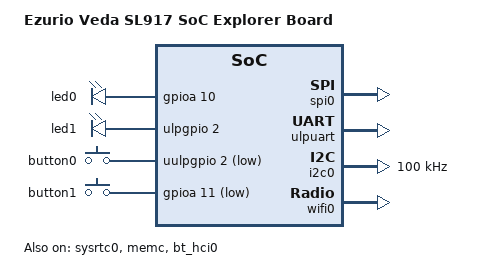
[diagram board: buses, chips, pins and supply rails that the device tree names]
/*
 * Copyright (c) 2023 Antmicro
 * Copyright (c) 2024 Silicon Laboratories Inc.
 * Copyright (c) 2026 Ezurio
 * SPDX-License-Identifier: Apache-2.0
 */

/dts-v1/;
#include <silabs/siwg917m111mgtba.dtsi>
#include <zephyr/dt-bindings/gpio/gpio.h>
#include <zephyr/dt-bindings/input/input-event-codes.h>
#include <zephyr/dt-bindings/pinctrl/silabs/siwx91x-pinctrl.h>
#include <freq.h>

/ {
	model = "Ezurio Veda SL917 SoC Explorer Board";
	compatible = "silabs,siwg917";

	chosen {
		zephyr,bt-hci = &bt_hci0;
		zephyr,code-partition = &code_partition;
		zephyr,console = &ulpuart;
		zephyr,shell-uart = &ulpuart;
		zephyr,sram = &sram0;
		zephyr,uart-pipe = &ulpuart;
	};

	aliases {
		led0 = &led0;
		led1 = &led1;
		sw0 = &button0;
		sw1 = &button1;
	};

	leds {
		compatible = "gpio-leds";

		led0: led_0 {
			gpios = <&gpioa 10 GPIO_ACTIVE_HIGH>;
		};

		led1: led_1 {
			gpios = <&ulpgpio 2 GPIO_ACTIVE_HIGH>;
		};
	};

	buttons {
		compatible = "gpio-keys";

		button0: button_0 {
			gpios = <&uulpgpio 2 GPIO_ACTIVE_LOW>;
			zephyr,code = <INPUT_KEY_0>;
		};

		button1: button_1 {
			gpios = <&gpioa 11 GPIO_ACTIVE_LOW>;
			zephyr,code = <INPUT_KEY_1>;
		};
	};
};

&pinctrl0 {
	psram_default: psram_default {
		group {
			pinmux = <PSRAM_CLK_HP52>,
				 <PSRAM_D0_HP53>,
				 <PSRAM_D1_HP54>,
				 <PSRAM_D2_HP56>,
				 <PSRAM_D3_HP57>,
				 <PSRAM_CSN0_HP55>;
		};
	};

	i2c0_default: i2c0_default {
		group {
			pinmux = <I2C0_SDA_HP6>, <I2C0_SCL_HP7>;
		};
	};

	ulpuart_default: ulpuart_default {
		out {
			pinmux = <ULPUART_TX_ULP11>;
		};

		in {
			pinmux = <ULPUART_RX_ULP9>;
		};
	};

	spi0_default: spi0_default {
		out {
			pinmux = <GSPI_CLK_HP25>, <GSPI_MOSI_HP27>;
		};

		in {
			pinmux = <GSPI_MISO_HP26>;
		};
	};
};

&spi0 {
	status = "okay";
	cs-gpios = <&gpiob 12 GPIO_ACTIVE_LOW>;
	pinctrl-0 = <&spi0_default>;
	pinctrl-names = "default";

	dmas = <&gpdma 0 11>, <&gpdma 1 10>;
	dma-names = "tx", "rx";
};

&gpdma {
	status = "okay";
};

&cpu0 {
	clock-frequency = <180000000>;
};

&ulpuart {
	pinctrl-0 = <&ulpuart_default>;
	pinctrl-names = "default";
	status = "okay";
};

&i2c0 {
	clock-frequency = <DT_FREQ_K(100)>;
	pinctrl-0 = <&i2c0_default>;
	pinctrl-names = "default";
	status = "okay";
};

&flash0 {
	partitions {
		compatible = "fixed-partitions";
		#address-cells = <1>;
		#size-cells = <1>;

		code_partition: partition@202000 {
			reg = <0x00202000 DT_SIZE_K(2008)>;
			label = "code_partition";
		};

		storage_partition: partition@3f8000 {
			reg = <0x003f8000 DT_SIZE_K(32)>;
			label = "storage";
		};
	};
};

&sysrtc0 {
	status = "okay";
};

&memc {
	status = "okay";
	clocks = <&clock0 SIWX91X_CLK_QSPI>;
	pinctrl-0 = <&psram_default>;
	pinctrl-names = "default";
	device-id = [0d 5d 00 00 00 00 00 00];
	fast-freq = <DT_FREQ_M(144)>;
	normal-freq = <DT_FREQ_M(33)>;

	psram: psram@a000000 {
		compatible = "zephyr,memory-region", "mmio-sram";
		reg = <0xa000000 DT_SIZE_M(8)>;
		zephyr,memory-attr = <DT_MEM_ARM(ATTR_MPU_RAM)>;
		zephyr,memory-region = "psram";
	};
};

&bt_hci0 {
	status = "okay";
};

&wifi0 {
	status = "okay";
};
